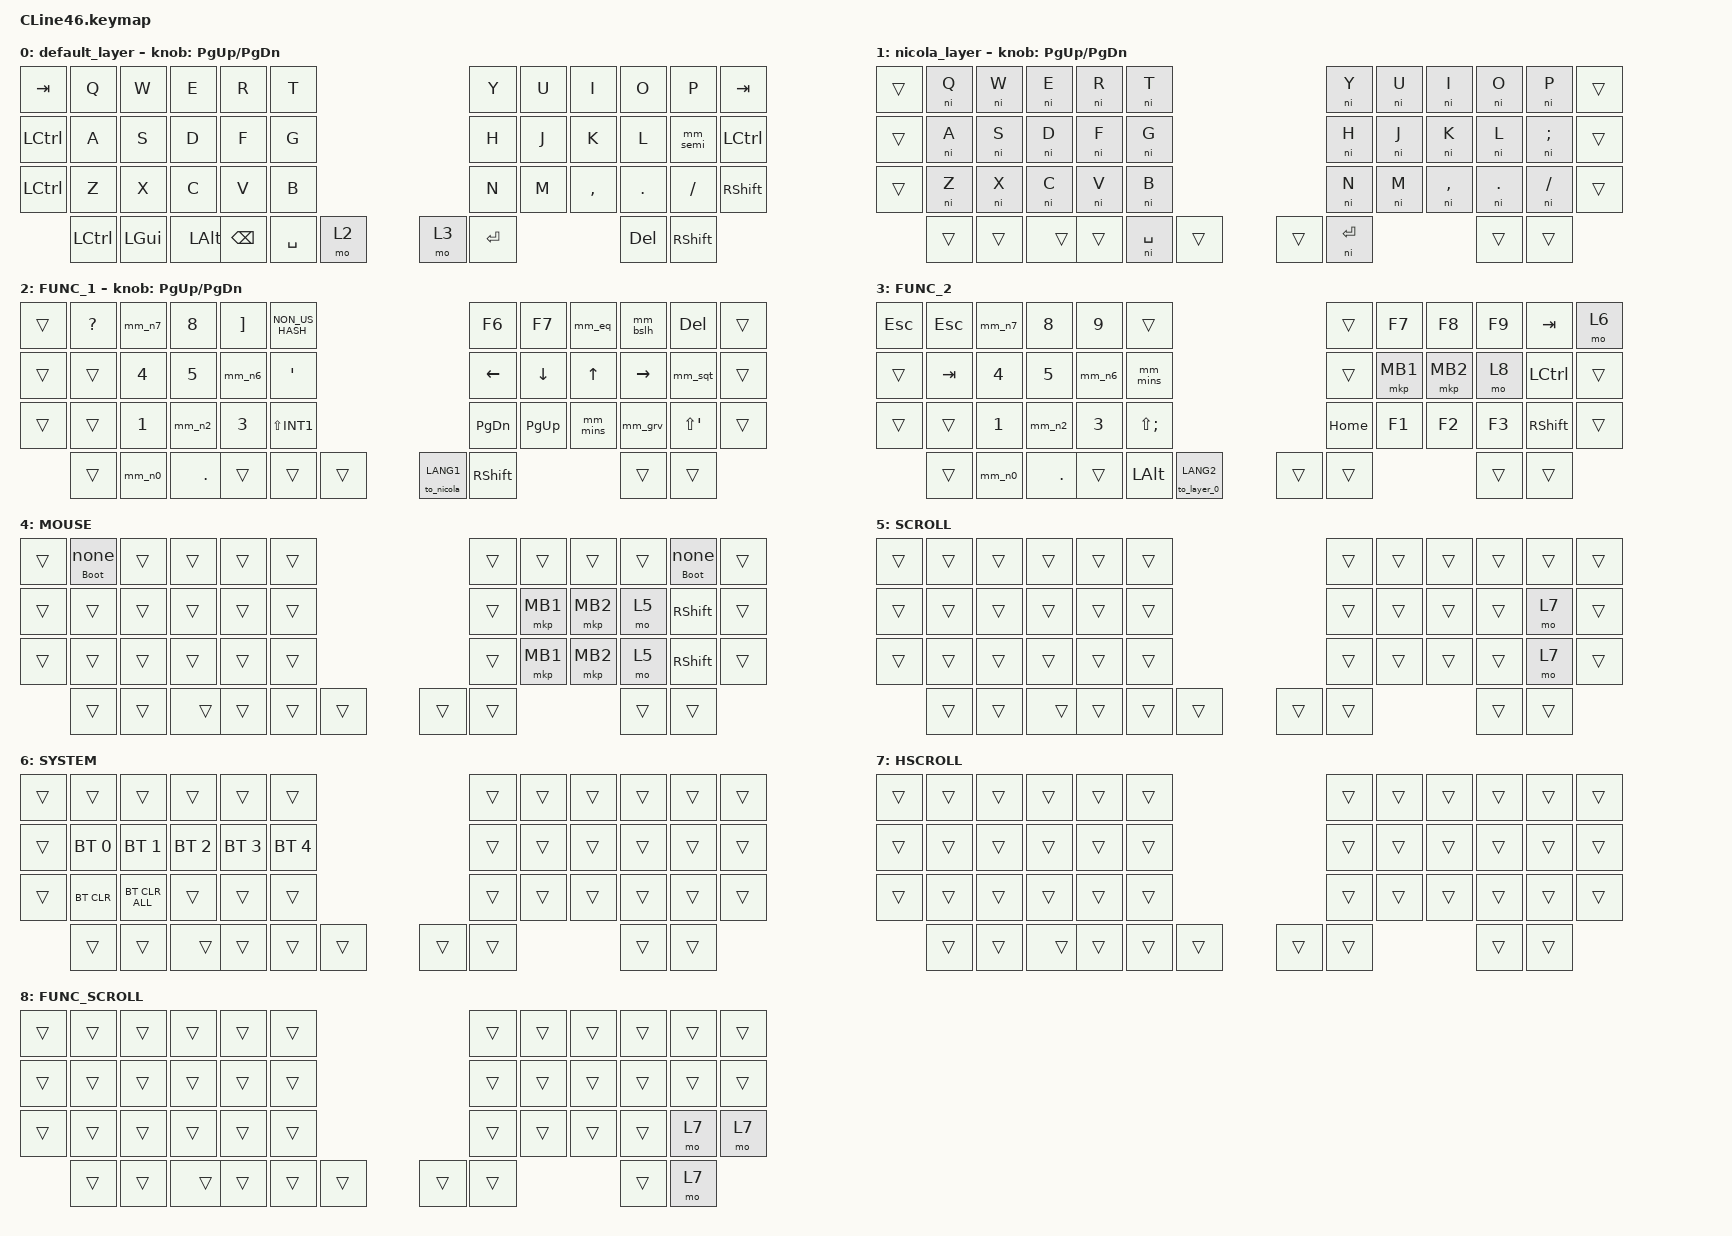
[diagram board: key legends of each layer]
#include <input/processors.dtsi>
#include <dt-bindings/zmk/input_transform.h>
#include <zephyr/dt-bindings/input/input-event-codes.h>
#include <behaviors.dtsi>
#include <behaviors/nicola.dtsi>   // NICOLA (親指シフト) behavior: &ni <keycode>
#include <dt-bindings/zmk/bt.h>
#include <dt-bindings/zmk/keys.h>
#include <dt-bindings/zmk/pointing.h>

// =============================================================================
// CLine46 NICOLA キーマップ — keyball39(keymap_design_39.md)を CLine46(6x3+親指6L/4R)へ移植。
//
// 位置番号(0-45):
//   上段  0  1  2  3  4  5 |  6  7  8  9 10 11
//   中段 12 13 14 15 16 17 | 18 19 20 21 22 23
//   下段 24 25 26 27 28 29 | 30 31 32 33 34 35
//   親指       36 37 38 39 40 41 | 42 43 (●) 44 45     ● = ボール(col10-11)
//
// ★レイヤー番号は 39 と同順(NICOLA < FUNC < MOUSE)。ZMKは「有効な最大番号の面が優先」
//   なので、NICOLA中に FUNC/MOUSE(より大きい番号)を押すと正しく上に乗る:
//     0:QWERTY 1:NICOLA 2:FUNC_1 3:FUNC_2 4:MOUSE(AML先) 5:SCROLL 6:SYSTEM(BT)
//
// 増設外側列: 右 11/23/35=Tab/Ctrl/Shift。左は 0/12=Tab/Ctrl, 24=Ctrl(元Shift→AML解放でCtrl化。左Shiftは右35/45に集約)。
// FUNC_2 の左上角 pos0 = ESC(元 pos1 から角へ移動)。
//
// トラックボール:
//   ・通常(base): ボール=カーソル(常時)。
//   ・AML: ボールを動かすと layer4(MOUSE) が自動で 650ms 有効(clicksが出る)。→ overlay の zip_temp_layer。
//   ・スクロール: MOUSE面の pos21(MB2の右)を長押し=&mo 5 → layer5 有効中はボール=スクロール(overlay scroller layers=<5>)。
//
// NICOLA on/off: FUNC_1 の pos42(か)=&to 1 / FUNC_2 の pos41(英)=&to 0。単独Space=pos40, Enter=pos43。
// 修飾キー(Ctrl/Alt/GUI/Shift)併用時は生QWERTYを送出(zmk-nicola モジュール側)。
//
// 記号 = a2j 再現(2026-09-03): keyball39 の a2j/translate_ansi_to_jis.c と同じ変換を
//   mod-morph(&mm_*) と LS() 直書きで実装。JIS認識Windows で ANSI と同じグリフが出る。
//   例: Shift+2=@ / Shift+6=^ / Shift+7=& / '(base)+"(Shift) / =(base)++(Shift) / `+~ / -+_ 。
//   Shift+8/9 だけは 39 と同様に素通し(JISネイティブの ( ) を使う)。morph は Shift を
//   マスクしてから差し替え先を送るので、@ のような「JISでは無Shift」のキーも正しく出る。
// =============================================================================

&mt {
    flavor = "balanced";
    quick-tap-ms = <0>;
};

/ {
    // ※ SYSTEM(BT)面の入口だった コンボ pos0+pos11(&tog 6) は撤去。pos0=左半身(peripheral) /
    //    pos11=右半身(central) の分割またぎで、コンボ判定は central 側・peripheral の押下は
    //    BLE 到着時刻でタイムスタンプされる。既定 timeout 50ms に対し接続間隔 15ms
    //    (CONFIG_BT_PERIPHERAL_PREF_*_INT=12)＋ジッタで間に合わず、実用上ほぼ発火しなかった。
    //    → FUNC_2(layer3) の pos11 に &mo 6 を置く方式へ(判定窓なし・同一半身)。

    // ==== a2j 再現(JIS記号モーフ) ====
    // keyball39 の translate_ansi_to_jis.c と同表。各 morph は「素押し / Shift押し」で
    // 送るキーを切替え、Shift はマスク(LS() 指定分だけ明示的に付く)。
    behaviors {
        // Boot only after 1.5 seconds. Other keys cannot force an early hold.
        // Preserve the event source so Q boots the left half and P the right.
        boot_hold: boot_hold {
            compatible = "zmk,behavior-hold-tap";
            #binding-cells = <2>;
            flavor = "tap-preferred";
            tapping-term-ms = <1500>;
            bindings = <&bootloader>, <&none>;
        };

        mm_semi: mm_semi {   // ; / :(JISは QUOT 位置・無Shift)
            compatible = "zmk,behavior-mod-morph";
            #binding-cells = <0>;
            bindings = <&kp SEMI>, <&kp SQT>;
            mods = <(MOD_LSFT|MOD_RSFT)>;
        };
        mm_n2: mm_n2 {       // 2 / @(JISは LBKT 位置・無Shift)
            compatible = "zmk,behavior-mod-morph";
            #binding-cells = <0>;
            bindings = <&kp N2>, <&kp LBKT>;
            mods = <(MOD_LSFT|MOD_RSFT)>;
        };
        mm_n6: mm_n6 {       // 6 / ^(JISは EQUAL 位置・無Shift)
            compatible = "zmk,behavior-mod-morph";
            #binding-cells = <0>;
            bindings = <&kp N6>, <&kp EQUAL>;
            mods = <(MOD_LSFT|MOD_RSFT)>;
        };
        mm_n7: mm_n7 {       // 7 / &(JISは Shift+6)
            compatible = "zmk,behavior-mod-morph";
            #binding-cells = <0>;
            bindings = <&kp N7>, <&kp LS(N6)>;
            mods = <(MOD_LSFT|MOD_RSFT)>;
        };
        mm_n0: mm_n0 {       // 0 / )(JISは Shift+9)
            compatible = "zmk,behavior-mod-morph";
            #binding-cells = <0>;
            bindings = <&kp N0>, <&kp LS(N9)>;
            mods = <(MOD_LSFT|MOD_RSFT)>;
        };
        mm_eq: mm_eq {       // = (JIS Shift+MINUS) / + (JIS Shift+SEMI)
            compatible = "zmk,behavior-mod-morph";
            #binding-cells = <0>;
            bindings = <&kp LS(MINUS)>, <&kp LS(SEMI)>;
            mods = <(MOD_LSFT|MOD_RSFT)>;
        };
        mm_bslh: mm_bslh {   // \ (JIS INT3=¥) / | (JIS Shift+INT3)
            compatible = "zmk,behavior-mod-morph";
            #binding-cells = <0>;
            bindings = <&kp INT3>, <&kp LS(INT3)>;
            mods = <(MOD_LSFT|MOD_RSFT)>;
        };
        mm_sqt: mm_sqt {     // ' (JIS Shift+7) / " (JIS Shift+2)
            compatible = "zmk,behavior-mod-morph";
            #binding-cells = <0>;
            bindings = <&kp LS(N7)>, <&kp LS(N2)>;
            mods = <(MOD_LSFT|MOD_RSFT)>;
        };
        mm_grv: mm_grv {     // ` (JIS Shift+LBKT=@位置) / ~ (JIS Shift+EQUAL)
            compatible = "zmk,behavior-mod-morph";
            #binding-cells = <0>;
            bindings = <&kp LS(LBKT)>, <&kp LS(EQUAL)>;
            mods = <(MOD_LSFT|MOD_RSFT)>;
        };
        mm_mins: mm_mins {   // - / _ (JIS Shift+INT1=ろ)
            compatible = "zmk,behavior-mod-morph";
            #binding-cells = <0>;
            bindings = <&kp MINUS>, <&kp LS(INT1)>;
            mods = <(MOD_LSFT|MOD_RSFT)>;
        };
    };

    macros {
        to_layer_0: to_layer_0 {
            compatible = "zmk,behavior-macro-one-param";
            #binding-cells = <1>;
            bindings = <&to 0 &macro_param_1to1 &kp MACRO_PLACEHOLDER>;
            label = "TO_LAYER_0";
        };
        // NICOLA面(layer 1)へ: 引数(かな=LANG1)を送ってから &to 1。英数側は to_layer_0 LANG2。
        to_nicola: to_nicola {
            compatible = "zmk,behavior-macro-one-param";
            #binding-cells = <1>;
            bindings = <&to 1 &macro_param_1to1 &kp MACRO_PLACEHOLDER>;
            label = "TO_NICOLA";
        };
    };

    keymap {
        compatible = "zmk,keymap";

        // ---- 0: QWERTY (英数・ベース) -------------------------------------
        default_layer {
            bindings = <
&kp TAB     &kp Q      &kp W      &kp E      &kp R      &kp T                                          &kp Y      &kp U      &kp I      &kp O      &kp P      &kp TAB
&kp LCTRL   &kp A      &kp S      &kp D      &kp F      &kp G                                          &kp H      &kp J      &kp K      &kp L      &mm_semi   &kp LCTRL
&kp LCTRL   &kp Z      &kp X      &kp C      &kp V      &kp B                                          &kp N      &kp M      &kp COMMA  &kp DOT    &kp FSLH   &kp RSHIFT
                       &kp LCTRL  &kp LGUI   &kp LALT   &kp BSPC   &kp SPACE  &mo 2        &mo 3  &kp RET   &kp DEL    &kp RSHIFT
            >;
            sensor-bindings = <&inc_dec_kp PG_UP PAGE_DOWN>;
        };

        // ---- 1: NICOLA (親指シフト/同時打鍵) -----------------------------
        // 文字=&ni <QWERTY>。40=&ni SPACE(単独Space)/43=&ni RET(単独Enter)。41/42 透過=base の
        // FUNC_1/FUNC_2 を継承(番号が大きい→NICOLA上に乗る)。読点「、」はモジュール側。
        nicola_layer {
            bindings = <
&trans  &ni Q   &ni W   &ni E   &ni R   &ni T                                    &ni Y   &ni U   &ni I      &ni O    &ni P      &trans
&trans  &ni A   &ni S   &ni D   &ni F   &ni G                                    &ni H   &ni J   &ni K      &ni L    &ni SEMI   &trans
&trans  &ni Z   &ni X   &ni C   &ni V   &ni B                                    &ni N   &ni M   &ni COMMA  &ni DOT  &ni FSLH   &trans
                &trans  &trans  &trans  &trans  &ni SPACE  &trans    &trans  &ni RET  &trans  &trans
            >;
            sensor-bindings = <&inc_dec_kp PG_UP PAGE_DOWN>;
        };

        // ---- 2: FUNC_1 (数字・記号・矢印)  入口=41(&mo 2) ----------------
        // 右上段の先頭2つ = F6/F7 (ATOK: ひらがな変換 / 全角カタカナ変換)。
        // 旧 ( ) は Shift+8/9 で出せるため撤去 (keyball39 の FUNC_1 と同じ変更)。
        // 記号は a2j 再現(&mm_* / LS() 直書き)。N8 は素通し(Shift+8=JISの「(」)。
        FUNC_1 {
            bindings = <
&trans  &kp QMARK  &mm_n7     &kp N8     &kp RBKT   &kp NON_US_HASH                                 &kp F6     &kp F7     &mm_eq     &mm_bslh   &kp DEL    &trans
&trans  &trans     &kp N4     &kp N5     &mm_n6     &kp SQT                                         &kp LEFT   &kp DOWN   &kp UP     &kp RIGHT  &mm_sqt    &trans
&trans  &trans     &kp N1     &mm_n2     &kp N3     &kp LS(INT1)                                    &kp PG_DN  &kp PG_UP  &mm_mins   &mm_grv    &kp LS(SQT)  &trans
                   &trans     &mm_n0     &kp DOT    &trans     &trans     &trans     &to_nicola LANG1  &kp RSHIFT  &trans  &trans
            >;
            sensor-bindings = <&inc_dec_kp PG_UP PAGE_DOWN>;
        };

        // ---- 3: FUNC_2 (数字/Fキー・クリック/スクロール)  入口=42(&mo 3) ---------------------
        // pos0=ESC(角)・pos1=ESC(39の1=Esc と同位置。2026-09-03 一致化)。
        // 41=英(NICOLA OFF=&to 0)。40=Alt。11=SYSTEM(BT)面へ(&mo 6, 押している間だけ)。
        // 15(G位置)=- / 25(B位置)=+ はテンキー記号。a2j 再現で JIS 送出。
        FUNC_2 {
            bindings = <
&kp ESC   &kp ESC    &mm_n7     &kp N8     &kp N9     &trans                                         &trans     &kp F7     &kp F8     &kp F9     &kp TAB    &mo 6
&trans    &kp TAB    &kp N4     &kp N5     &mm_n6     &mm_mins                                       &trans     &mkp MB1   &mkp MB2   &mo 8      &kp LCTRL  &trans
&trans    &trans     &kp N1     &mm_n2     &kp N3     &kp LS(SEMI)                                   &kp HOME   &kp F1     &kp F2     &kp F3     &kp RSHIFT &trans
                     &trans     &mm_n0     &kp DOT    &trans     &kp LALT  &to_layer_0 LANG2   &trans  &trans   &trans     &trans
            >;
        };

        // ---- 4: MOUSE (AMLの自動先) -------------------------------------
        // ボール移動で自動有効(650ms)。マウス以外は透過(打鍵はbaseへ素通り)。
        //   人差し指=MB1 / 中指=MB2 / 薬指=長押しスクロール(&mo 5) / 小指=RShift。
        //   39 と同じくホーム段(19-22)と下段(31-34)の二重配置(お試し用・決まったら片方を▽に)。
        //   RShift は修飾キーなので押しても AML は外れない(39 の 20/30=Sft と同じ)。
        //   pos1(Q)/pos10(P)=1.5秒長押しBoot。短押しは無反応。押した側の半身をDFUへ。
        MOUSE {
            bindings = <
&trans  &boot_hold 0 0  &trans  &trans  &trans  &trans               &trans  &trans     &trans     &trans   &boot_hold 0 0  &trans
&trans  &trans  &trans  &trans  &trans  &trans                       &trans  &mkp MB1   &mkp MB2   &mo 5    &kp RSHIFT  &trans
&trans  &trans  &trans  &trans  &trans  &trans                       &trans  &mkp MB1   &mkp MB2   &mo 5    &kp RSHIFT  &trans
                &trans  &trans  &trans  &trans  &trans  &trans   &trans  &trans   &trans  &trans
            >;
        };

        // ---- 5: SCROLL (この面が有効な間ボール=縦スクロール, overlay scroller layers=<5>) --
        // 22(右小指・MB2の2つ右)を追加ホールドすると layer7(HSCROLL)=左右スクロール。
        // 下段ルート(33でスクロール中)用に 34(下段小指)にも &mo 7 を配置(MOUSE二重配置と対)。
        // keyball の _BALL 面(人差し=MB1/中指=MB2/薬指=スクロール/小指=追加で左右)と同じ操作感。
        SCROLL {
            bindings = <
&trans  &trans  &trans  &trans  &trans  &trans                       &trans  &trans  &trans  &trans  &trans  &trans
&trans  &trans  &trans  &trans  &trans  &trans                       &trans  &trans  &trans  &trans  &mo 7   &trans
&trans  &trans  &trans  &trans  &trans  &trans                       &trans  &trans  &trans  &trans  &mo 7   &trans
                &trans  &trans  &trans  &trans  &trans  &trans   &trans  &trans  &trans  &trans
            >;
        };

        // ---- 6: SYSTEM (BT管理)  入口=42(右親指FUNC_2)を押しながら 11(右小指) = &mo 6 ----
        // 押している間だけ有効。AML誤爆を避けるためマウス面から分離。
        // 13-17=BTプロファイル0-4(左手ホーム段 A/S/D/F/G位置) / 25=BTクリア / 26=全消去。
        // &tog ではなく &mo: layer6 の 41/42 は透過→base の &mo 2/3→FUNC面の &to 0/&to 1 に
        // 落ちるため、&tog だとNICOLA切替を押した瞬間に無言で layer6 が解除されてしまう。
        SYSTEM {
            bindings = <
&trans  &trans        &trans          &trans        &trans        &trans                        &trans  &trans  &trans  &trans  &trans  &trans
&trans  &bt BT_SEL 0  &bt BT_SEL 1    &bt BT_SEL 2  &bt BT_SEL 3  &bt BT_SEL 4                  &trans  &trans  &trans  &trans  &trans  &trans
&trans  &bt BT_CLR    &bt BT_CLR_ALL  &trans        &trans        &trans                        &trans  &trans  &trans  &trans  &trans  &trans
                      &trans          &trans        &trans        &trans   &trans  &trans   &trans  &trans   &trans  &trans
            >;
        };

        // ---- 7: HSCROLL (この面が有効な間ボール=左右スクロール) ------------------
        // 入口 = SCROLL(5) の 22 を追加ホールド。全透過で、効果は overlay の
        // hscroller(layers=<7>) 側にある。子ノードは記述順で最初にマッチした1つだけ
        // 適用されるため、hscroller を scroller より前に置いてある(5と7が同時に有効でも7が勝つ)。
        HSCROLL {
            bindings = <
&trans  &trans  &trans  &trans  &trans  &trans                       &trans  &trans  &trans  &trans  &trans  &trans
&trans  &trans  &trans  &trans  &trans  &trans                       &trans  &trans  &trans  &trans  &trans  &trans
&trans  &trans  &trans  &trans  &trans  &trans                       &trans  &trans  &trans  &trans  &trans  &trans
                &trans  &trans  &trans  &trans  &trans  &trans   &trans  &trans  &trans  &trans
            >;
        };

        // ---- 8: FUNC_SCROLL: FUNC_2 pos21 held; keep pos22=Ctrl. ----
        // Horizontal scroll: hold an existing right Shift position (34/35/45).
        FUNC_SCROLL {
            bindings = <
&trans &trans &trans &trans &trans &trans   &trans &trans &trans &trans &trans &trans
&trans &trans &trans &trans &trans &trans   &trans &trans &trans &trans &trans &trans
&trans &trans &trans &trans &trans &trans   &trans &trans &trans &trans &mo 7  &mo 7
              &trans &trans &trans &trans &trans &trans   &trans &trans &trans &mo 7
            >;
        };
    };
};
